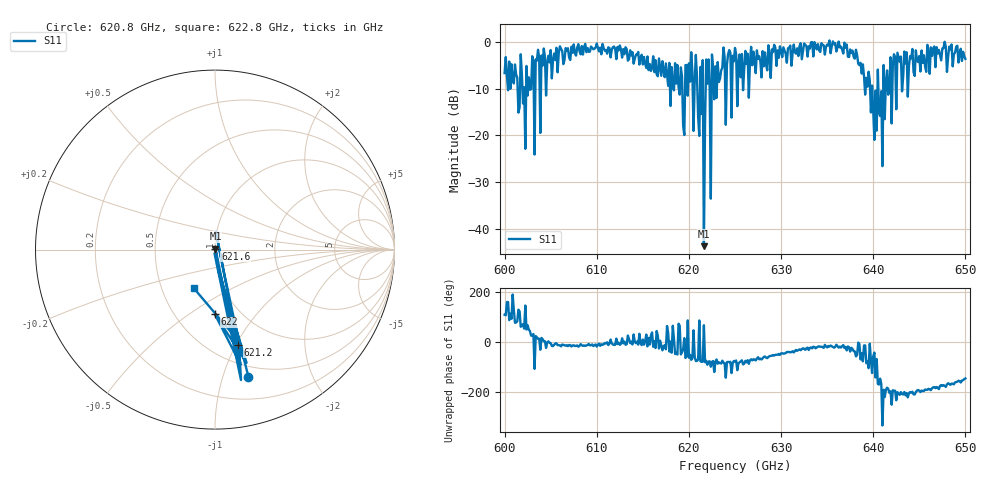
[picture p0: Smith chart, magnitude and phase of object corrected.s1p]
!Created with skrf (http://scikit-rf.org).
# GHz S MA R 50.0
!freq magS11 angS11
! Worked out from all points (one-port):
!   401 points, 600 GHz to 650 GHz, reference 50 ohm
!   lowest |S11| = -43.8 dB at 621.6 GHz (marker M1), VSWR 1.01, Z = 50.2 + j0.602 ohm
!   |S11| at or under -10 dB: 601.4148 GHz to 601.6685 GHz (253.7 MHz wide, 0.0422 % of centre); 639.8915 GHz to 640.4604 GHz (568.9 MHz wide, 0.0889 % of centre); 640.5559 GHz to 641.0955 GHz (539.6 MHz wide, 0.0842 % of centre) (the widest 3 of 36)
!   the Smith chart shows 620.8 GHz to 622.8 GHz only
!   S11 on the Smith chart (normalised r, x): 620.8 GHz: 0.40, -1.22; 621.2 GHz: 0.67, -1.02; 621.6 GHz: 1.00, +0.01; 622 GHz: 0.77, -0.64; 622.8 GHz: 0.72, -0.33
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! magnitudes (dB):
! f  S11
! 600 GHz  -6.6
! 602.2 GHz  -22.9
! 602.9 GHz  -10.1
! 603 GHz  -3.0
! 606.2 GHz  -1.8
! 612.5 GHz  -0.7
! 618.8 GHz  -4.9
! 619.2 GHz  -7.3
! 620 GHz  -4.5
! 620.8 GHz  -2.7
! 621.2 GHz  -5.3
! 621.4 GHz  -15.4
! 621.6 GHz  -43.8
! 621.9 GHz  -3.7
! 622 GHz  -8.9
! 622.5 GHz  -2.6
! 622.8 GHz  -12.2
! 625 GHz  -1.2
! 631.2 GHz  -2.4
! 637.5 GHz  -1.5
! 638.4 GHz  -4.6
! 640.1 GHz  -21.0
! 641 GHz  -26.6
! 641.6 GHz  -11.2
! 642.2 GHz  -2.6
! 642.5 GHz  -14.4
! 643.8 GHz  -11.7
! 650 GHz  -3.5
